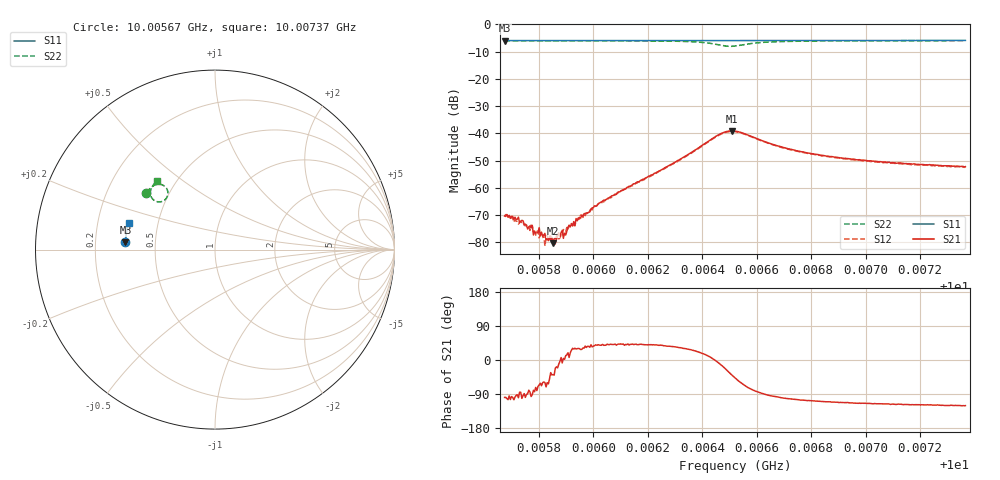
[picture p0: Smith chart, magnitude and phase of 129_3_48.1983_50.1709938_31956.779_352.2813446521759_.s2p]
#  HZ  S  RI  R  50.00
! Rohde & Schwarz Vector Network Analyzer
! Rohde-Schwarz,ZNB20-2Port,1311601062101988,3.16
! Created: UTC 3/20/2024, 11:41:50 AM
! freq[Hz]  re:S11  im:S11  re:S21  im:S21  re:S12  im:S12  re:S22  im:S22
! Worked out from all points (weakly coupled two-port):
!   401 points, 10.00567 GHz to 10.00737 GHz, reference 50 ohm
!   highest |S21| = -39.11 dB at 10.00651 GHz (marker M1); lowest = -80.3 dB at 10.00585 GHz (marker M2)
!   lowest |S11| = -6.0 dB at 10.00567 GHz (marker M3), VSWR 3.01, Z = 16.7 + j1.84 ohm
!   |S11| at or under -10 dB: nowhere
!   |S22| runs from -8.1 to -6.0 dB; largest |S21 - S12| = 0.00066
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1.0005674e10  -0.4992 0.0414  -4.62e-05 -0.0003  -3.68e-05 -0.000301  -0.3825 0.3177
1.0005733e10  -0.4991 0.0453  2.03e-05 -0.000243  6.19e-06 -0.000242  -0.3797 0.3215
1.0005767e10  -0.4988 0.0474  1.91e-05 -0.000199  9.21e-06 -0.000165  -0.3778 0.3237
1.0005788e10  -0.4987 0.0489  4.46e-05 -0.000141  4.64e-05 -0.000128  -0.3768 0.3249
1.0005801e10  -0.4987 0.0498  7.68e-05 -0.00017  4.4e-05 -0.000112  -0.3761 0.3256
1.000583e10  -0.4986 0.0517  5.78e-05 -9.91e-05  9.01e-05 -0.000101  -0.3747 0.3276
1.0005835e10  -0.4986 0.0518  4.89e-05 -9.57e-05  7.36e-05 -7.7e-05  -0.3744 0.3278
1.0005851e10  -0.4985 0.0531  7.53e-05 -5.97e-05  0.000101 -2.51e-05  -0.3734 0.3289
1.0005877e10  -0.4984 0.0548  0.000127 -8.62e-06  0.00012 1.72e-05  -0.3721 0.3307
1.0005898e10  -0.4982 0.056  0.000134 2.61e-05  0.000155 1.2e-05  -0.3708 0.332
1.0005911e10  -0.4981 0.0569  0.000202 2.39e-05  0.000195 6.83e-05  -0.3701 0.3328
1.0005928e10  -0.4981 0.058  0.00021 0.000116  0.000186 9.39e-05  -0.369 0.3339
1.0005957e10  -0.4979 0.0597  0.000275 0.000147  0.000276 0.000157  -0.3671 0.3358
1.0006029e10  -0.4974 0.0646  0.000428 0.000345  0.000415 0.000317  -0.3623 0.3409
1.0006241e10  -0.4959 0.0783  0.00159 0.00127  0.00152 0.0013  -0.3403 0.3572
1.0006457e10  -0.4932 0.0921  0.00916 -0.000922  0.00897 -0.000477  -0.2645 0.3296
1.0006507e10  -0.4926 0.0946  0.00863 -0.00695  0.00881 -0.00633  -0.2805 0.2761
1.000652e10  -0.4924 0.0954  0.00742 -0.00807  0.0077 -0.00748  -0.2938 0.2685
1.0006685e10  -0.4916 0.1058  -0.000886 -0.00566  -0.000593 -0.00557  -0.3604 0.318
1.0006803e10  -0.4901 0.1135  -0.0013 -0.00403  -0.00111 -0.00401  -0.3553 0.3401
1.0007087e10  -0.4863 0.1315  -0.00129 -0.00264  -0.00114 -0.00262  -0.3388 0.3658
1.0007366e10  -0.4818 0.1489  -0.00124 -0.00211  -0.00111 -0.00211  -0.3239 0.3825
